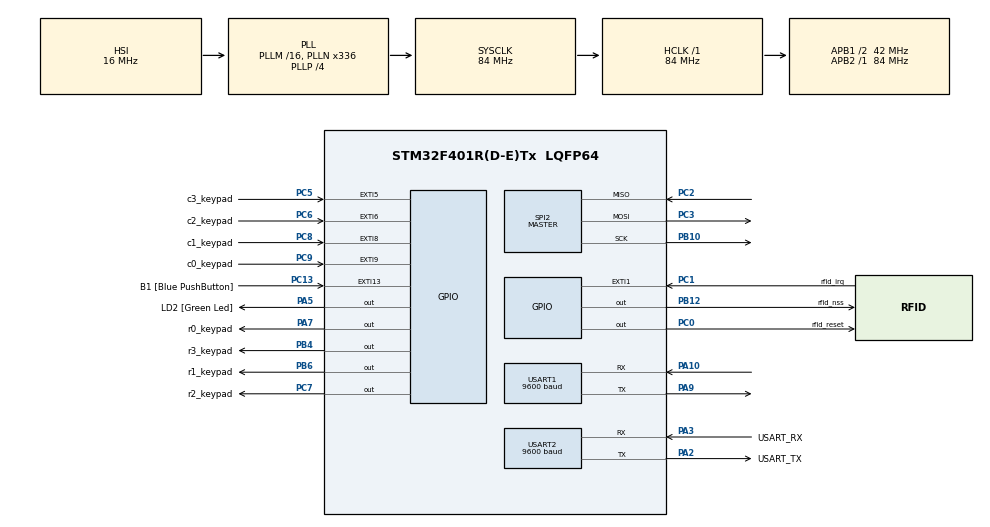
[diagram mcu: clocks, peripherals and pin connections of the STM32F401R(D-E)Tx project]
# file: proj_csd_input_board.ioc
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Mcu.Family=STM32F4
Mcu.Name=STM32F401R(D-E)Tx
Mcu.Package=LQFP64
NVIC.EXTI15_10_IRQn=true\:0\:0\:false\:false\:true\:true\:true\:true
NVIC.EXTI9_5_IRQn=true\:0\:0\:false\:false\:true\:true\:true\:true
NVIC.PriorityGroup=NVIC_PRIORITYGROUP_0
NVIC.USART1_IRQn=true\:0\:0\:false\:false\:true\:true\:true\:true
PA10.GPIO_Speed=GPIO_SPEED_FREQ_LOW
PA10.Mode=Asynchronous
PA10.Signal=USART1_RX
PA13.GPIO_Label=TMS
PA13.Mode=Serial_Wire
PA13.Signal=SYS_JTMS-SWDIO
PA14.GPIO_Label=TCK
PA14.Mode=Serial_Wire
PA14.Signal=SYS_JTCK-SWCLK
PA2.GPIO_Label=USART_TX
PA2.GPIO_Mode=GPIO_MODE_AF_PP
PA2.GPIO_PuPd=GPIO_NOPULL
PA2.GPIO_Speed=GPIO_SPEED_FREQ_LOW
PA2.Mode=Asynchronous
PA2.Signal=USART2_TX
PA3.GPIO_Label=USART_RX
PA3.GPIO_Mode=GPIO_MODE_AF_PP
PA3.GPIO_PuPd=GPIO_NOPULL
PA3.GPIO_Speed=GPIO_SPEED_FREQ_LOW
PA3.Mode=Asynchronous
PA3.Signal=USART2_RX
PA5.GPIO_Label=LD2 [Green Led]
PA5.GPIO_Mode=GPIO_MODE_OUTPUT_PP
PA5.GPIO_PuPd=GPIO_NOPULL
PA5.GPIO_Speed=GPIO_SPEED_FREQ_LOW
PA5.Signal=GPIO_Output
PA7.GPIO_Label=r0_keypad
PA7.Signal=GPIO_Output
PA9.GPIO_Speed=GPIO_SPEED_FREQ_LOW
PA9.Mode=Asynchronous
PA9.Signal=USART1_TX
PB10.Mode=Full_Duplex_Master
PB10.Signal=SPI2_SCK
PB12.GPIO_Label=rfid_nss
PB12.GPIO_Speed=GPIO_SPEED_FREQ_VERY_HIGH
PB12.PinState=GPIO_PIN_SET
PB12.Signal=GPIO_Output
PB3.GPIO_Label=SWO
PB3.Signal=SYS_JTDO-SWO
PB4.GPIO_Label=r3_keypad
PB4.Signal=GPIO_Output
PB6.GPIO_Label=r1_keypad
PB6.Signal=GPIO_Output
PC0.GPIO_Label=rfid_reset
PC0.PinState=GPIO_PIN_SET
PC0.Signal=GPIO_Output
PC1.GPIO_Label=rfid_irq
PC1.GPIO_ModeDefaultEXTI=GPIO_MODE_IT_FALLING
PC1.Signal=GPXTI1
PC13-ANTI_TAMP.GPIO_Label=B1 [Blue PushButton]
PC13-ANTI_TAMP.GPIO_ModeDefaultEXTI=GPIO_MODE_IT_FALLING
PC13-ANTI_TAMP.GPIO_PuPd=GPIO_NOPULL
PC13-ANTI_TAMP.Signal=GPXTI13
PC14-OSC32_IN.Mode=LSE-External-Oscillator
PC14-OSC32_IN.Signal=RCC_OSC32_IN
PC15-OSC32_OUT.Mode=LSE-External-Oscillator
PC15-OSC32_OUT.Signal=RCC_OSC32_OUT
PC2.Mode=Full_Duplex_Master
PC2.Signal=SPI2_MISO
PC3.Mode=Full_Duplex_Master
PC3.Signal=SPI2_MOSI
PC5.GPIO_Label=c3_keypad
PC5.GPIO_ModeDefaultEXTI=GPIO_MODE_IT_FALLING
PC5.GPIO_PuPd=GPIO_PULLUP
PC5.Signal=GPXTI5
PC6.GPIO_Label=c2_keypad
PC6.GPIO_ModeDefaultEXTI=GPIO_MODE_IT_FALLING
PC6.GPIO_PuPd=GPIO_PULLUP
PC6.Signal=GPXTI6
PC7.GPIO_Label=r2_keypad
PC7.Signal=GPIO_Output
PC8.GPIO_Label=c1_keypad
PC8.GPIO_ModeDefaultEXTI=GPIO_MODE_IT_FALLING
PC8.GPIO_PuPd=GPIO_PULLUP
PC8.Signal=GPXTI8
PC9.GPIO_Label=c0_keypad
PC9.GPIO_ModeDefaultEXTI=GPIO_MODE_IT_FALLING
PC9.GPIO_PuPd=GPIO_PULLUP
PC9.Signal=GPXTI9
PH0\ -\ OSC_IN.Mode=HSE-External-Clock-Source
PH0\ -\ OSC_IN.Signal=RCC_OSC_IN
PH1\ -\ OSC_OUT.Mode=HSE-External-Clock-Source
PH1\ -\ OSC_OUT.Signal=RCC_OSC_OUT
ProjectManager.HeapSize=0x200
ProjectManager.StackSize=0x400
ProjectManager.TargetToolchain=STM32CubeIDE
RCC.48MHZClocksFreq_Value=48000000
RCC.AHBFreq_Value=84000000
RCC.APB1CLKDivider=RCC_HCLK_DIV2
RCC.APB1Freq_Value=42000000
RCC.APB1TimFreq_Value=84000000
RCC.APB2Freq_Value=84000000
RCC.APB2TimFreq_Value=84000000
RCC.CortexFreq_Value=84000000
RCC.HCLKFreq_Value=84000000
RCC.HSE_VALUE=8000000
RCC.HSI_VALUE=16000000
RCC.PLLN=336
RCC.PLLP=RCC_PLLP_DIV4
RCC.PLLQ=7
RCC.SYSCLKFreq_VALUE=84000000
RCC.SYSCLKSource=RCC_SYSCLKSOURCE_PLLCLK
RCC.VCOOutputFreq_Value=336000000
SPI2.BaudRatePrescaler=SPI_BAUDRATEPRESCALER_64
SPI2.Direction=SPI_DIRECTION_2LINES
SPI2.Mode=SPI_MODE_MASTER
SPI2.VirtualType=VM_MASTER
TIM2.Prescaler=84-1
USART1.BaudRate=9600
USART1.VirtualMode=VM_ASYNC
USART2.BaudRate=9600
USART2.VirtualMode=VM_ASYNC
VP_TIM2_VS_ClockSourceINT.Mode=Internal
board=NUCLEO-F401RE

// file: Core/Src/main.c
/* USER CODE BEGIN Header */
/**
  ******************************************************************************
  * @file           : main.c
  * @brief          : Main program body
  ******************************************************************************
  * @attention
  *
  * Copyright (c) 2022 STMicroelectronics.
  * All rights reserved.
  *
  * This software is licensed under terms that can be found in the LICENSE file
  * in the root directory of this software component.
  * If no LICENSE file comes with this software, it is provided AS-IS.
  *
  ******************************************************************************
  */
/* USER CODE END Header */
#include "main.h"

/* USER CODE BEGIN Includes */
#include "keypad.h"
#include "debug.h"
#include "myrfid.h"

/* USER CODE END Includes */

/* USER CODE BEGIN PD */
#define FLAG_PIN 0x00
#define FLAG_CARD 0x01
#define ACK 0x00

/* USER CODE END PD */

 SPI_HandleTypeDef hspi2;

TIM_HandleTypeDef htim2;

UART_HandleTypeDef huart1;
UART_HandleTypeDef huart2;

/* USER CODE BEGIN PV */

 int currentms = 0;
 int previousms = 0;

 int num_char = 0;
 uint8_t disable_rfid_sensor = 0;
 uint8_t data_from_output_board = 0xFF;

/* USER CODE END PV */

void SystemClock_Config(void);
static void MX_GPIO_Init(void);
static void MX_USART2_UART_Init(void);
static void MX_SPI2_Init(void);
static void MX_USART1_UART_Init(void);
static void MX_TIM2_Init(void);

/* USER CODE BEGIN 0 */

void enter_wait_state(){
	disable_rfid_sensor = 1;
	HAL_NVIC_DisableIRQ(EXTI9_5_IRQn);
	HAL_UART_Receive_IT(&huart1, &data_from_output_board, 1);
}

void exit_wait_state(){
	disable_rfid_sensor = 0;
	num_char = 0;
	HAL_NVIC_EnableIRQ(EXTI9_5_IRQn);
}

void send_byte_to_output_board(uint8_t* pData, int len){
	while(HAL_UART_Transmit(&huart1, pData, len, HAL_MAX_DELAY) != HAL_OK);
}

void HAL_GPIO_EXTI_Callback (uint16_t GPIO_Pin){
	uint8_t key;
	uint8_t flag = FLAG_PIN;

	currentms = HAL_GetTick();

	if(currentms-previousms>300){
		previousms = currentms;

		switch(GPIO_Pin){
		case C0_PIN:
			key = findKey(C0_PORT, GPIO_Pin);
			break;
		case C1_PIN:
			key = findKey(C1_PORT, GPIO_Pin);
			break;
		case C2_PIN:
			key = findKey(C2_PORT, GPIO_Pin);
			break;
		case C3_PIN:
			key = findKey(C3_PORT, GPIO_Pin);
			break;
		default:
			print_error();
			return;
		}

		if(key == 0x00){
			print_error();
			return;
		}

		if(num_char == 0) {
			send_byte_to_output_board(&flag,1);
		}
		send_byte_to_output_board(&key,1);
		HAL_UART_Transmit(&huart2, &key, 1, HAL_MAX_DELAY);

		num_char++;
		disable_rfid_sensor = 1;
		if(num_char == 4) enter_wait_state();

	}
}

void HAL_UART_RxCpltCallback (UART_HandleTypeDef * huart){
	print_lf();
	print_byte_to_hex(data_from_output_board);
	if(data_from_output_board == ACK) exit_wait_state();
}

/* USER CODE END 0 */

int main(void)
{
  /* USER CODE BEGIN 1 */
	uint8_t str[MFRC522_MAX_LEN];
  /* USER CODE END 1 */

  /* MCU Configuration--------------------------------------------------------*/

  /* Reset of all peripherals, Initializes the Flash interface and the Systick. */
  HAL_Init();

  /* Configure the system clock */
  SystemClock_Config();

  /* Initialize all configured peripherals */
  MX_GPIO_Init();
  MX_USART2_UART_Init();
  MX_SPI2_Init();
  MX_USART1_UART_Init();
  MX_TIM2_Init();
  /* USER CODE BEGIN 2 */
  MFRC522_Init(&hspi2, &htim2);
  /* USER CODE END 2 */

  /* Infinite loop */
  while (1)
  {

    /* USER CODE BEGIN 3 */

	  if(!disable_rfid_sensor){
		  if(!MFRC522_Check(str)){
			uint8_t flag = FLAG_CARD;

			send_byte_to_output_board(&flag, 1);

			for(int i = 0; i < 4 ; i++) {
				send_byte_to_output_board(&str[i], 1);
//				print_byte_to_hex(str[i]);
			}
//			print_lf();

			enter_wait_state();
		  }
	  }

//	  if(!disable_rfid_sensor){
//
//		  if (!MFRC522_Request(PICC_REQIDL, str)) {
//
//				if (!MFRC522_Anticoll(str)) {
//					uint8_t flag = FLAG_CARD;
//
//					send_byte_to_output_board(&flag, 1);
//
//					for(int i = 0; i < 4 ; i++) {
//						send_byte_to_output_board(&str[i], 1);
//						print_byte_to_hex(str[i]);
//					}
//					print_lf();
//
//					enter_wait_state();
//				}
//			}
//	  }

  }
  /* USER CODE END 3 */
}

void SystemClock_Config(void)
{
  RCC_OscInitTypeDef RCC_OscInitStruct = {0};
  RCC_ClkInitTypeDef RCC_ClkInitStruct = {0};

  /** Configure the main internal regulator output voltage
  */
  __HAL_RCC_PWR_CLK_ENABLE();
  __HAL_PWR_VOLTAGESCALING_CONFIG(PWR_REGULATOR_VOLTAGE_SCALE2);

  /** Initializes the RCC Oscillators according to the specified parameters
  * in the RCC_OscInitTypeDef structure.
  */
  RCC_OscInitStruct.OscillatorType = RCC_OSCILLATORTYPE_HSI;
  RCC_OscInitStruct.HSIState = RCC_HSI_ON;
  RCC_OscInitStruct.HSICalibrationValue = RCC_HSICALIBRATION_DEFAULT;
  RCC_OscInitStruct.PLL.PLLState = RCC_PLL_ON;
  RCC_OscInitStruct.PLL.PLLSource = RCC_PLLSOURCE_HSI;
  RCC_OscInitStruct.PLL.PLLM = 16;
  RCC_OscInitStruct.PLL.PLLN = 336;
  RCC_OscInitStruct.PLL.PLLP = RCC_PLLP_DIV4;
  RCC_OscInitStruct.PLL.PLLQ = 7;
  if (HAL_RCC_OscConfig(&RCC_OscInitStruct) != HAL_OK)
  {
    Error_Handler();
  }

  /** Initializes the CPU, AHB and APB buses clocks
  */
  RCC_ClkInitStruct.ClockType = RCC_CLOCKTYPE_HCLK|RCC_CLOCKTYPE_SYSCLK
                              |RCC_CLOCKTYPE_PCLK1|RCC_CLOCKTYPE_PCLK2;
  RCC_ClkInitStruct.SYSCLKSource = RCC_SYSCLKSOURCE_PLLCLK;
  RCC_ClkInitStruct.AHBCLKDivider = RCC_SYSCLK_DIV1;
  RCC_ClkInitStruct.APB1CLKDivider = RCC_HCLK_DIV2;
  RCC_ClkInitStruct.APB2CLKDivider = RCC_HCLK_DIV1;

  if (HAL_RCC_ClockConfig(&RCC_ClkInitStruct, FLASH_LATENCY_2) != HAL_OK)
  {
    Error_Handler();
  }
}

static void MX_SPI2_Init(void)
{

  /* SPI2 parameter configuration*/
  hspi2.Instance = SPI2;
  hspi2.Init.Mode = SPI_MODE_MASTER;
  hspi2.Init.Direction = SPI_DIRECTION_2LINES;
  hspi2.Init.DataSize = SPI_DATASIZE_8BIT;
  hspi2.Init.CLKPolarity = SPI_POLARITY_LOW;
  hspi2.Init.CLKPhase = SPI_PHASE_1EDGE;
  hspi2.Init.NSS = SPI_NSS_SOFT;
  hspi2.Init.BaudRatePrescaler = SPI_BAUDRATEPRESCALER_64;
  hspi2.Init.FirstBit = SPI_FIRSTBIT_MSB;
  hspi2.Init.TIMode = SPI_TIMODE_DISABLE;
  hspi2.Init.CRCCalculation = SPI_CRCCALCULATION_DISABLE;
  hspi2.Init.CRCPolynomial = 10;
  if (HAL_SPI_Init(&hspi2) != HAL_OK)
  {
    Error_Handler();
  }

}

static void MX_TIM2_Init(void)
{

  TIM_ClockConfigTypeDef sClockSourceConfig = {0};
  TIM_MasterConfigTypeDef sMasterConfig = {0};

  htim2.Instance = TIM2;
  htim2.Init.Prescaler = 84-1;
  htim2.Init.CounterMode = TIM_COUNTERMODE_UP;
  htim2.Init.Period = 4294967295;
  htim2.Init.ClockDivision = TIM_CLOCKDIVISION_DIV1;
  htim2.Init.AutoReloadPreload = TIM_AUTORELOAD_PRELOAD_DISABLE;
  if (HAL_TIM_Base_Init(&htim2) != HAL_OK)
  {
    Error_Handler();
  }
  sClockSourceConfig.ClockSource = TIM_CLOCKSOURCE_INTERNAL;
  if (HAL_TIM_ConfigClockSource(&htim2, &sClockSourceConfig) != HAL_OK)
  {
    Error_Handler();
  }
  sMasterConfig.MasterOutputTrigger = TIM_TRGO_RESET;
  sMasterConfig.MasterSlaveMode = TIM_MASTERSLAVEMODE_DISABLE;
  if (HAL_TIMEx_MasterConfigSynchronization(&htim2, &sMasterConfig) != HAL_OK)
  {
    Error_Handler();
  }

}

static void MX_USART1_UART_Init(void)
{

  huart1.Instance = USART1;
  huart1.Init.BaudRate = 9600;
  huart1.Init.WordLength = UART_WORDLENGTH_8B;
  huart1.Init.StopBits = UART_STOPBITS_1;
  huart1.Init.Parity = UART_PARITY_NONE;
  huart1.Init.Mode = UART_MODE_TX_RX;
  huart1.Init.HwFlowCtl = UART_HWCONTROL_NONE;
  huart1.Init.OverSampling = UART_OVERSAMPLING_16;
  if (HAL_UART_Init(&huart1) != HAL_OK)
  {
    Error_Handler();
  }

}

static void MX_USART2_UART_Init(void)
{

  huart2.Instance = USART2;
  huart2.Init.BaudRate = 9600;
  huart2.Init.WordLength = UART_WORDLENGTH_8B;
  huart2.Init.StopBits = UART_STOPBITS_1;
  huart2.Init.Parity = UART_PARITY_NONE;
  huart2.Init.Mode = UART_MODE_TX_RX;
  huart2.Init.HwFlowCtl = UART_HWCONTROL_NONE;
  huart2.Init.OverSampling = UART_OVERSAMPLING_16;
  if (HAL_UART_Init(&huart2) != HAL_OK)
  {
    Error_Handler();
  }

}

static void MX_GPIO_Init(void)
{
  GPIO_InitTypeDef GPIO_InitStruct = {0};

  /* GPIO Ports Clock Enable */
  __HAL_RCC_GPIOC_CLK_ENABLE();
  __HAL_RCC_GPIOH_CLK_ENABLE();
  __HAL_RCC_GPIOA_CLK_ENABLE();
  __HAL_RCC_GPIOB_CLK_ENABLE();

  /*Configure GPIO pin Output Level */
  HAL_GPIO_WritePin(rfid_reset_GPIO_Port, rfid_reset_Pin, GPIO_PIN_SET);

  /*Configure GPIO pin Output Level */
  HAL_GPIO_WritePin(GPIOA, LD2_Pin|r0_keypad_Pin, GPIO_PIN_RESET);

  /*Configure GPIO pin Output Level */
  HAL_GPIO_WritePin(rfid_nss_GPIO_Port, rfid_nss_Pin, GPIO_PIN_SET);

  /*Configure GPIO pin Output Level */
  HAL_GPIO_WritePin(r2_keypad_GPIO_Port, r2_keypad_Pin, GPIO_PIN_RESET);

  /*Configure GPIO pin Output Level */
  HAL_GPIO_WritePin(GPIOB, r3_keypad_Pin|r1_keypad_Pin, GPIO_PIN_RESET);

  /*Configure GPIO pins : B1_Pin rfid_irq_Pin */
  GPIO_InitStruct.Pin = B1_Pin|rfid_irq_Pin;
  GPIO_InitStruct.Mode = GPIO_MODE_IT_FALLING;
  GPIO_InitStruct.Pull = GPIO_NOPULL;
  HAL_GPIO_Init(GPIOC, &GPIO_InitStruct);

  /*Configure GPIO pins : rfid_reset_Pin r2_keypad_Pin */
  GPIO_InitStruct.Pin = rfid_reset_Pin|r2_keypad_Pin;
  GPIO_InitStruct.Mode = GPIO_MODE_OUTPUT_PP;
  GPIO_InitStruct.Pull = GPIO_NOPULL;
  GPIO_InitStruct.Speed = GPIO_SPEED_FREQ_LOW;
  HAL_GPIO_Init(GPIOC, &GPIO_InitStruct);

  /*Configure GPIO pins : LD2_Pin r0_keypad_Pin */
  GPIO_InitStruct.Pin = LD2_Pin|r0_keypad_Pin;
  GPIO_InitStruct.Mode = GPIO_MODE_OUTPUT_PP;
  GPIO_InitStruct.Pull = GPIO_NOPULL;
  GPIO_InitStruct.Speed = GPIO_SPEED_FREQ_LOW;
  HAL_GPIO_Init(GPIOA, &GPIO_InitStruct);

  /*Configure GPIO pins : c3_keypad_Pin c2_keypad_Pin c1_keypad_Pin c0_keypad_Pin */
  GPIO_InitStruct.Pin = c3_keypad_Pin|c2_keypad_Pin|c1_keypad_Pin|c0_keypad_Pin;
  GPIO_InitStruct.Mode = GPIO_MODE_IT_FALLING;
  GPIO_InitStruct.Pull = GPIO_PULLUP;
  HAL_GPIO_Init(GPIOC, &GPIO_InitStruct);

  /*Configure GPIO pin : rfid_nss_Pin */
  GPIO_InitStruct.Pin = rfid_nss_Pin;
  GPIO_InitStruct.Mode = GPIO_MODE_OUTPUT_PP;
  GPIO_InitStruct.Pull = GPIO_NOPULL;
  GPIO_InitStruct.Speed = GPIO_SPEED_FREQ_VERY_HIGH;
  HAL_GPIO_Init(rfid_nss_GPIO_Port, &GPIO_InitStruct);

  /*Configure GPIO pins : r3_keypad_Pin r1_keypad_Pin */
  GPIO_InitStruct.Pin = r3_keypad_Pin|r1_keypad_Pin;
  GPIO_InitStruct.Mode = GPIO_MODE_OUTPUT_PP;
  GPIO_InitStruct.Pull = GPIO_NOPULL;
  GPIO_InitStruct.Speed = GPIO_SPEED_FREQ_LOW;
  HAL_GPIO_Init(GPIOB, &GPIO_InitStruct);

  /* EXTI interrupt init*/
  HAL_NVIC_SetPriority(EXTI9_5_IRQn, 0, 0);
  HAL_NVIC_EnableIRQ(EXTI9_5_IRQn);

  HAL_NVIC_SetPriority(EXTI15_10_IRQn, 0, 0);
  HAL_NVIC_EnableIRQ(EXTI15_10_IRQn);

}

void Error_Handler(void)
{
  __disable_irq();
  while (1)
  {
  }
}
